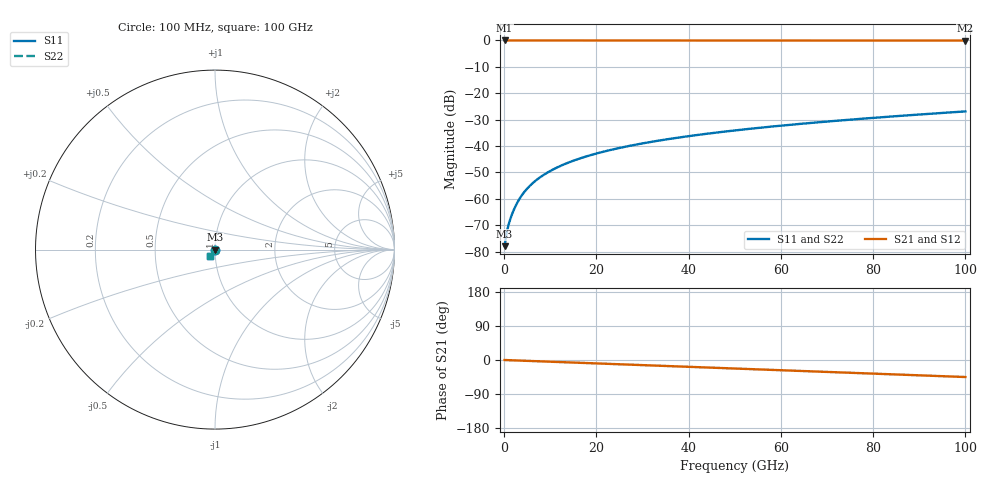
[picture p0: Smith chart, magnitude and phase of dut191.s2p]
! Touchstone file exported from HFSS 2026.1.0
!  File:  C:/ffzhzh/LocalFiles/Ansys_Project_Files/temp_train_TSV_191_1783507300_41296.aedt
!  Generated:  06:42:58 PM Jul  8, 2026
!  Design:  TSV
!  Project:  temp_train_TSV_191_1783507300_41296
! Variables:
!  h_bsmrdl = 2um
!  h_ox = 20um
!  h_rdl = 5um
!  h_sub = 92.52um
!  h_tmrdl = 5um
!  h_tsv = 92.52um
!  h_via = 3um
!  l_bsmrdl = 300um
!  l_sub = 421.88um
!  l_tmrdl = 200um
!  m_sub = 200um
!  pitch = 42.31um
!  r_tsv = 10.94um
!  s_tmrdl = 10um
!  w_bsmrdl = 18um
!  w_sub = 500um
!  w_tmrdl = 12um
!  x_tsv_center1 = 206um
!  x_tsv_center2 = 524um
!  x_tsv_center3 = 736um
!  x_tsv_center4 = 1054um
!  x_tsv_center5 = 1266um
!  x_tsv_center6 = 1584um
# GHz S MA R 50.000000
! Terminal data exported
! Port[1] = TSV1_1_T1
! Port[2] = TSV1_1_T2
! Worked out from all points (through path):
!   1000 points, 100 MHz to 100 GHz, reference 50 ohm
!   highest |S21| = 0.00 dB at 100 MHz (marker M1); lowest = 0.0 dB at 100 GHz (marker M2)
!   group delay of S21, straight-line fit = 1.25 ps
!   lowest |S11| = -78.0 dB at 100 MHz (marker M3), VSWR 1.00, Z = 50 + j0.00135 ohm
!   |S11| at or under -10 dB: start of sweep to end of sweep
!   |S22| runs from -78.0 to -26.9 dB; largest |S21 - S12| = 8.4e-15
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0.1  0.0001263 6.1  0.9999 -0.0  0.9999 -0.0  0.0001263 6.1
! Gamma 0 0 0 0
! Port Impedance 50 0 50 0
0.4  0.000189 5.3  0.9998 -0.2  0.9998 -0.2  0.000189 5.3
0.8  0.0002839 -12.4  0.9997 -0.4  0.9997 -0.4  0.0002839 -12.4
1.1  0.0003545 -23.6  0.9997 -0.5  0.9997 -0.5  0.0003545 -23.6
1.6  0.00048 -36.7  0.9996 -0.7  0.9996 -0.7  0.00048 -36.7
2.1  0.0006178 -45.1  0.9996 -1.0  0.9996 -1.0  0.0006178 -45.1
2.7  0.0007969 -52.0  0.9995 -1.2  0.9995 -1.2  0.0007969 -52.0
3.4  0.00102 -57.7  0.9994 -1.5  0.9994 -1.5  0.00102 -57.7
4.2  0.001286 -62.4  0.9994 -1.9  0.9994 -1.9  0.001286 -62.4
5.1  0.001595 -66.4  0.9993 -2.3  0.9993 -2.3  0.001595 -66.4
7.2  0.002336 -72.6  0.9992 -3.3  0.9992 -3.3  0.002336 -72.6
9.9  0.003326 -77.4  0.999 -4.5  0.999 -4.5  0.003326 -77.4
13  0.004494 -81.3  0.9989 -5.9  0.9989 -5.9  0.004494 -81.3
16.8  0.005952 -85.1  0.9987 -7.6  0.9987 -7.6  0.005952 -85.1
20.2  0.007276 -88.0  0.9986 -9.1  0.9986 -9.1  0.007276 -88.0
24.1  0.008818 -90.8  0.9984 -10.8  0.9984 -10.8  0.008818 -90.8
33.4  0.0126 -96.8  0.9981 -15.0  0.9981 -15.0  0.0126 -96.8
41.2  0.01588 -101.3  0.9978 -18.5  0.9978 -18.5  0.01588 -101.3
50.1  0.01976 -106.2  0.9975 -22.5  0.9975 -22.5  0.01976 -106.2
66.7  0.02745 -114.9  0.997 -29.9  0.997 -29.9  0.02745 -114.9
83.4  0.03591 -123.4  0.9963 -37.4  0.9963 -37.4  0.03591 -123.3
100  0.04521 -131.7  0.9955 -44.9  0.9955 -44.9  0.04521 -131.6
